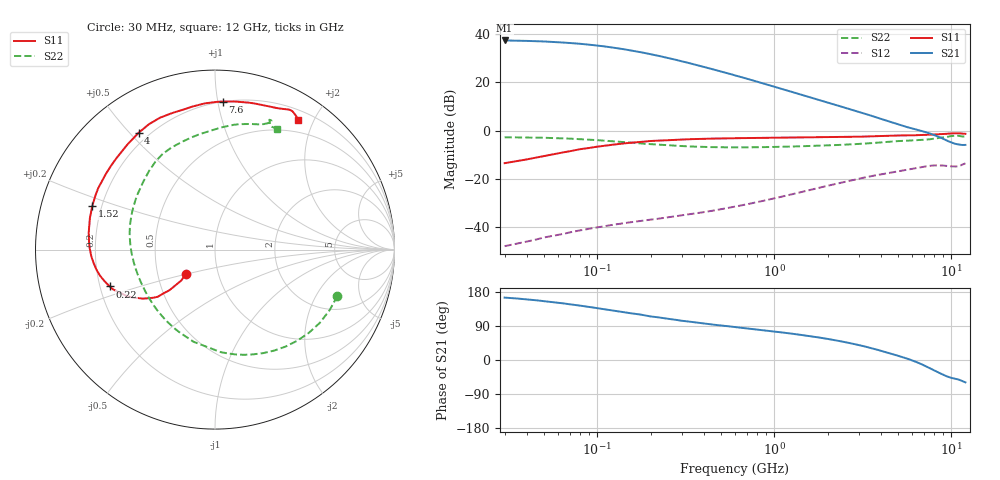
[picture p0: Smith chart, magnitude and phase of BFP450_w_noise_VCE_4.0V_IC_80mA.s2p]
! (c) 2015  Infineon Technologies AG, Munich
! Infineon Technologies  Discrete & RF Semiconductors
! BFP450
! VCE =  4.0 V,  IC =  80 mA
! Common Emitter S-Parameters:  Nov 2015
# GHz  S  MA  R  50
!  f  S11  S21  S12  S22
! GHz  MAG  ANG  MAG  ANG  MAG  ANG  MAG  ANG
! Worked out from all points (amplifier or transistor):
!   239 points, 30 MHz to 12 GHz, reference 50 ohm
!   highest |S21| = 37.3 dB at 30 MHz (marker M1)
!   |S21| within 3 dB of that: start of sweep to 124.2 MHz
!   unconditionally stable (mu >= 1): 981.2 MHz to end of sweep
!   at 300 MHz: K = 0.69, MSG = 31.8 dB, |S12| = -35.0 dB
!   at 1.88 GHz: K = 1.08, MAG = 15.9 dB, |S12| = -23.2 dB
!   at 12 GHz: K = 1.08, MAG = 2.1 dB, |S12| = -13.5 dB
!   lowest NFmin = 1.90 dB at 450 MHz
!   S11 on the Smith chart (normalised r, x): 30 MHz: 0.70, -0.20; 220 MHz: 0.24, -0.16; 1.52 GHz: 0.16, +0.17; 4 GHz: 0.16, +0.53; 7.6 GHz: 0.20, +1.03; 12 GHz: 0.32, +1.79
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0.03  0.2125 -140.2  72.96 164.7  0.0041 60.8  0.7293 -20.8
0.04  0.2544 -137.5  71.44 160.0  0.0051 61.3  0.722 -28.0
0.05  0.2991 -137.9  69.57 155.3  0.0062 60.7  0.7124 -35.0
0.06  0.3414 -138.3  67.18 151.3  0.007 60.5  0.6989 -41.6
0.085  0.4256 -141.4  60.99 141.8  0.009 58.1  0.6593 -56.8
0.11  0.4858 -145.8  54.94 133.8  0.0106 55.4  0.6217 -69.8
0.13  0.5261 -149.2  50.39 128.6  0.0117 54.1  0.5952 -78.9
0.15  0.557 -152.4  46.31 124.0  0.0126 53.0  0.5718 -86.9
0.2  0.6106 -158.8  37.81 115.0  0.0145 51.7  0.5273 -103.1
0.22  0.6209 -160.7  35.33 112.7  0.0151 51.8  0.513 -107.8
0.24  0.6319 -162.6  32.91 110.1  0.0158 51.9  0.5025 -112.8
0.3  0.6575 -167.3  27.05 103.6  0.0177 52.4  0.4801 -124.8
0.36  0.6711 -170.8  22.93 99.1  0.0195 53.5  0.4666 -133.6
0.45  0.6847 -175.1  18.47 93.4  0.0222 55.0  0.4562 -143.7
0.6  0.6979 179.8  13.82 86.7  0.0269 57.1  0.4514 -155.3
1  0.7121 170.1  8.055 75.0  0.0399 58.7  0.4603 -173.2
1.52  0.7251 160.5  5.13 64.3  0.0571 56.1  0.4788 172.6
1.64  0.7277 158.4  4.728 62.1  0.061 55.2  0.4831 169.9
4  0.7776 123.2  1.748 24.1  0.1251 29.5  0.5717 130.0
4.5  0.7898 117.7  1.52 17.5  0.1348 24.5  0.592 124.1
7.6  0.8261 87.1  0.868 -22.3  0.1877 -8.3  0.6646 91.6
12  0.8588 57.3  0.507 -59.0  0.2107 -40.3  0.7555 62.8
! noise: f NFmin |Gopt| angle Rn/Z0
0.45  1.9  0.6  -172  0.07
0.9  1.96  0.63  -166  0.08
1.9  2.06  0.65  -150  0.14
2.4  2.15  0.65  -141  0.2
